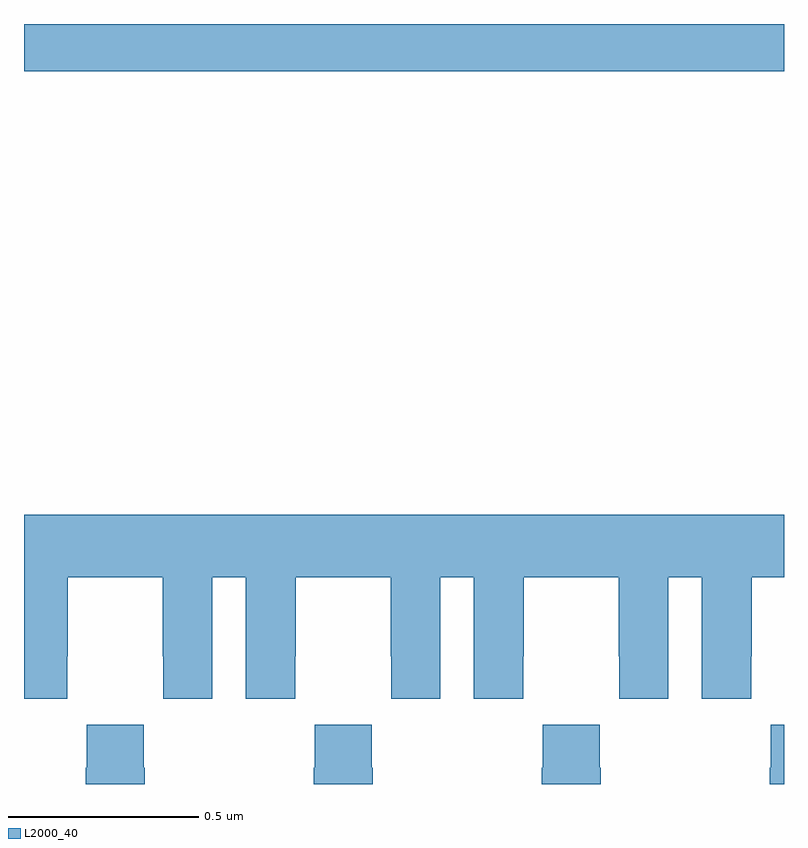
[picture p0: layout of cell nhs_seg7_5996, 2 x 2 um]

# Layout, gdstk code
import gdstk
lib = gdstk.Library(unit=1e-6, precision=1e-09)
def R(c, l, rs):  # rectangles x0, y0, x1, y1
    for r in rs: c.add(gdstk.rectangle(r[:2], r[2:], *l))
def P(c, l, *ps):  # polygons
    for p in ps: c.add(gdstk.Polygon(p, *l))
L2000_40 = (2000, 40)

nhs_seg7_5996 = lib.new_cell('nhs_seg7_5996')
R(nhs_seg7_5996, L2000_40, [(192,1073.876,194,1074)])
P(nhs_seg7_5996, L2000_40, [(192.114,1072.336),(192.115,1072.336),(192.115,1072.544),(192.365,1072.544),(192.365,1072.336),(192.366,1072.336),(192.366,1072.224),(192.496,1072.224),(192.496,1072.544),(192.584,1072.544),(192.584,1072.224),(192.714,1072.224),(192.714,1072.336),(192.715,1072.336),(192.715,1072.544),(192.965,1072.544),(192.965,1072.336),(192.966,1072.336),(192.966,1072.224),(193.096,1072.224),(193.096,1072.544),(193.184,1072.544),(193.184,1072.224),(193.314,1072.224),(193.314,1072.336),(193.315,1072.336),(193.315,1072.544),(193.565,1072.544),(193.565,1072.336),(193.566,1072.336),(193.566,1072.224),(193.696,1072.224),(193.696,1072.544),(193.784,1072.544),(193.784,1072.224),(193.914,1072.224),(193.914,1072.336),(193.915,1072.336),(193.915,1072.544),(194,1072.544),(194,1072.708),(192,1072.708),(192,1072.224),(192.114,1072.224)],
  [(192.318,1072.043),(192.315,1072.043),(192.315,1072.156),(192.165,1072.156),(192.165,1072.043),(192.163,1072.043),(192.163,1072),(192.318,1072)],
  [(192.918,1072.043),(192.915,1072.043),(192.915,1072.156),(192.765,1072.156),(192.765,1072.043),(192.763,1072.043),(192.763,1072),(192.918,1072)],
  [(193.518,1072.043),(193.515,1072.043),(193.515,1072.156),(193.365,1072.156),(193.365,1072.043),(193.363,1072.043),(193.363,1072),(193.518,1072)],
  [(194,1072.156),(193.965,1072.156),(193.965,1072.043),(193.963,1072.043),(193.963,1072),(194,1072)])

lib.write_gds('nhs_seg7_5996.gds')
